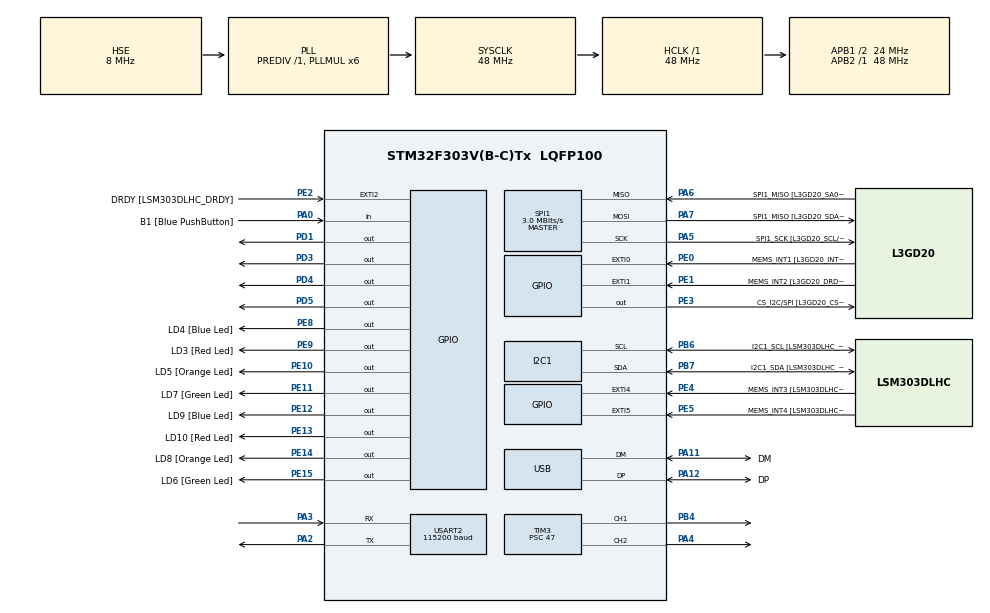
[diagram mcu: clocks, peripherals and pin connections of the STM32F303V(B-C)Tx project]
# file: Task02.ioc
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I2C1.Timing=0x00201D2B
I2C1.Timing-I2C=0x2000090E
Mcu.Family=STM32F3
Mcu.Name=STM32F303V(B-C)Tx
Mcu.Package=LQFP100
NVIC.PriorityGroup=NVIC_PRIORITYGROUP_0
NVIC.SPI1_IRQn=true\:0\:0\:false\:false\:true\:true\:true\:true
NVIC.TIM2_IRQn=true\:0\:0\:false\:false\:true\:true\:true\:true
NVIC.TIM3_IRQn=true\:0\:0\:false\:false\:true\:true\:true\:true
PA0.GPIO_Label=B1 [Blue PushButton]
PA0.Signal=GPIO_Input
PA11.GPIO_Label=DM
PA11.Mode=Device
PA11.Signal=USB_DM
PA12.GPIO_Label=DP
PA12.Mode=Device
PA12.Signal=USB_DP
PA13.GPIO_Label=SWDIO
PA13.Mode=Serial_Wire
PA13.Signal=SYS_JTMS-SWDIO
PA14.GPIO_Label=SWCLK
PA14.Mode=Serial_Wire
PA14.Signal=SYS_JTCK-SWCLK
PA2.Mode=Asynchronous
PA2.Signal=USART2_TX
PA3.Mode=Asynchronous
PA3.Signal=USART2_RX
PA4.GPIO_PuPd=GPIO_PULLUP
PA4.Signal=S_TIM3_CH2
PA5.GPIO_Label=SPI1_SCK [L3GD20_SCL/SPC]
PA5.Mode=Full_Duplex_Master
PA5.Signal=SPI1_SCK
PA6.GPIO_Label=SPI1_MISO [L3GD20_SA0/SDO]
PA6.Mode=Full_Duplex_Master
PA6.Signal=SPI1_MISO
PA7.GPIO_Label=SPI1_MISO [L3GD20_SDA/SDI/SDO]
PA7.Mode=Full_Duplex_Master
PA7.Signal=SPI1_MOSI
PB3.GPIO_Label=SWO
PB3.Signal=SYS_JTDO-TRACESWO
PB4.GPIO_PuPd=GPIO_PULLUP
PB4.Signal=S_TIM3_CH1
PB6.GPIO_Label=I2C1_SCL [LSM303DLHC_SCL]
PB6.GPIO_Pu=GPIO_PULLUP
PB6.Mode=I2C
PB6.Signal=I2C1_SCL
PB7.GPIO_Label=I2C1_SDA [LSM303DLHC_SDA]
PB7.GPIO_Pu=GPIO_PULLUP
PB7.Mode=I2C
PB7.Signal=I2C1_SDA
PC14-OSC32_IN.GPIO_Label=OSC32_IN
PC14-OSC32_IN.Signal=RCC_OSC32_IN
PC15-OSC32_OUT.GPIO_Label=OSC32_OUT
PC15-OSC32_OUT.Signal=RCC_OSC32_OUT
PD1.Signal=GPIO_Output
PD3.Signal=GPIO_Output
PD4.Signal=GPIO_Output
PD5.Signal=GPIO_Output
PE0.GPIO_Label=MEMS_INT1 [L3GD20_INT1]
PE0.GPIO_ModeDefaultEXTI=GPIO_MODE_EVT_RISING
PE0.Signal=GPXTI0
PE1.GPIO_Label=MEMS_INT2 [L3GD20_DRDY/INT2]
PE1.GPIO_ModeDefaultEXTI=GPIO_MODE_EVT_RISING
PE1.Signal=GPXTI1
PE10.GPIO_Label=LD5 [Orange Led]
PE10.Signal=GPIO_Output
PE11.GPIO_Label=LD7 [Green Led]
PE11.Signal=GPIO_Output
PE12.GPIO_Label=LD9 [Blue Led]
PE12.Signal=GPIO_Output
PE13.GPIO_Label=LD10 [Red Led]
PE13.Signal=GPIO_Output
PE14.GPIO_Label=LD8 [Orange Led]
PE14.Signal=GPIO_Output
PE15.GPIO_Label=LD6 [Green Led]
PE15.Signal=GPIO_Output
PE2.GPIO_Label=DRDY [LSM303DLHC_DRDY]
PE2.GPIO_ModeDefaultEXTI=GPIO_MODE_EVT_RISING
PE2.Signal=GPXTI2
PE3.GPIO_Label=CS_I2C/SPI [L3GD20_CS_I2C/SPI]
PE3.Signal=GPIO_Output
PE4.GPIO_Label=MEMS_INT3 [LSM303DLHC_INT1]
PE4.GPIO_ModeDefaultEXTI=GPIO_MODE_EVT_RISING
PE4.Signal=GPXTI4
PE5.GPIO_Label=MEMS_INT4 [LSM303DLHC_INT2]
PE5.GPIO_ModeDefaultEXTI=GPIO_MODE_EVT_RISING
PE5.Signal=GPXTI5
PE8.GPIO_Label=LD4 [Blue Led]
PE8.Signal=GPIO_Output
PE9.GPIO_Label=LD3 [Red Led]
PE9.Signal=GPIO_Output
PF0-OSC_IN.GPIO_Label=OSC_IN
PF0-OSC_IN.Mode=HSE-External-Clock-Source
PF0-OSC_IN.Signal=RCC_OSC_IN
PF1-OSC_OUT.GPIO_Label=OSC_OUT
PF1-OSC_OUT.Signal=RCC_OSC_OUT
ProjectManager.HeapSize=0x200
ProjectManager.StackSize=0x400
ProjectManager.TargetToolchain=CMake
RCC.AHBFreq_Value=48000000
RCC.APB1CLKDivider=RCC_HCLK_DIV2
RCC.APB1Freq_Value=24000000
RCC.APB1TimFreq_Value=48000000
RCC.APB2Freq_Value=48000000
RCC.APB2TimFreq_Value=48000000
RCC.CortexFreq_Value=48000000
RCC.HCLKFreq_Value=48000000
RCC.HSE_VALUE=8000000
RCC.HSI_VALUE=8000000
RCC.LSE_VALUE=32768
RCC.PLLMUL=RCC_PLL_MUL6
RCC.SYSCLKFreq_VALUE=48000000
RCC.SYSCLKSourceVirtual=RCC_SYSCLKSOURCE_PLLCLK
RCC.USBFreq_Value=48000000
SH.S_TIM3_CH1.0=TIM3_CH1,PWM Generation1 CH1
SH.S_TIM3_CH2.0=TIM3_CH2,PWM Generation2 CH2
SPI1.BaudRatePrescaler=SPI_BAUDRATEPRESCALER_16
SPI1.BaudRatePrescaler-Full_Duplex_Master=SPI_BAUDRATEPRESCALER_2
SPI1.CLKPhase=SPI_PHASE_2EDGE
SPI1.CLKPolarity=SPI_POLARITY_HIGH
SPI1.CalculateBaudRate=3.0 MBits/s
SPI1.CalculateBaudRate-Full_Duplex_Master=24.0 MBits/s
SPI1.DataSize=SPI_DATASIZE_8BIT
SPI1.Direction=SPI_DIRECTION_2LINES
SPI1.Mode=SPI_MODE_MASTER
SPI1.Mode-Full_Duplex_Master=SPI_MODE_MASTER
SPI1.VirtualType=VM_MASTER
TIM2.Period=9999
TIM2.Prescaler=47
TIM3.Channel-PWM\ Generation1\ CH1=TIM_CHANNEL_1
TIM3.Channel-PWM\ Generation2\ CH2=TIM_CHANNEL_2
TIM3.Period=999
TIM3.Prescaler=47
USART2.BaudRate=115200
USART2.VirtualMode-Asynchronous=VM_ASYNC
VP_TIM2_VS_ClockSourceINT.Mode=Internal
board=STM32F3DISCOVERY

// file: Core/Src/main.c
/* USER CODE BEGIN Header */
/**
  ******************************************************************************
  * @file           : main.c
  * @brief          : Main program body
  ******************************************************************************
  * @attention
  *
  * Copyright (c) 2026 STMicroelectronics.
  * All rights reserved.
  *
  * This software is licensed under terms that can be found in the LICENSE file
  * in the root directory of this software component.
  * If no LICENSE file comes with this software, it is provided AS-IS.
  *
  ******************************************************************************
  */
/* USER CODE END Header */
#include "main.h"
#include "string.h"
#include "stdio.h"
#include "math.h"
#include "pid.h"

I2C_HandleTypeDef hi2c1;

SPI_HandleTypeDef hspi1;

TIM_HandleTypeDef htim2;
TIM_HandleTypeDef htim3;

UART_HandleTypeDef huart2;

PCD_HandleTypeDef hpcd_USB_FS;

void SystemClock_Config(void);
static void MX_GPIO_Init(void);
static void MX_I2C1_Init(void);
static void MX_SPI1_Init(void);
static void MX_TIM2_Init(void);
static void MX_TIM3_Init(void);
static void MX_USART2_UART_Init(void);
static void MX_USB_PCD_Init(void);

/* USER CODE BEGIN 0 */
#define DevAddress 0x19 << 1
#define OUT_X_L  0x28
# define CTRL_REG1 0x20
# define CTRL_REG1_VAL 0b10001111
# define CTRL_REG4 0x23
# define CTRL_REG4_VAL 0b00000000 // FS [1:0] = 00 => +/- 245 dps

// Variables to store raw and processed sensor data
float acceleration_x, acceleration_tilt_x, acceleration_y, acceleration_tilt_y, acceleration_z, acceleration_tilt_z;
int16_t gyro_x, gyro_y, gyro_z;
float acc_offset_x = 0, acc_offset_y = 0, acc_offset_z = 0;
int16_t gyro_offset_x = 0, gyro_offset_y = 0, gyro_offset_z = 0;
float angle_x = 0, angle_y = 0, angle_z = 0;
volatile float dt = 0.01f;  // global time step for complementary filter
volatile int display_flag = 0; // Flag to indicate when to print data
PID_Controller pid;
volatile uint8_t direction;
volatile int16_t pwm;
// Gyro initialization function
void gyro_init ()
{
  // Power on + enable all axes
  uint8_t tx [2] = {CTRL_REG1 , CTRL_REG1_VAL};
  HAL_GPIO_WritePin(GPIOE, GPIO_PIN_3, GPIO_PIN_RESET);
  HAL_SPI_Transmit(&hspi1, tx , 2, HAL_MAX_DELAY);
  HAL_GPIO_WritePin(GPIOE, GPIO_PIN_3, GPIO_PIN_SET);

  // Set full scale range
  uint8_t ttx[2] = {CTRL_REG4, CTRL_REG4_VAL};
  HAL_GPIO_WritePin(GPIOE, GPIO_PIN_3, GPIO_PIN_RESET);
  HAL_SPI_Transmit(&hspi1, ttx, 2, HAL_MAX_DELAY);
  HAL_GPIO_WritePin(GPIOE, GPIO_PIN_3, GPIO_PIN_SET);
}

// Reading gyro data for all axis
void gyro_read_all(int16_t *x, int16_t *y, int16_t *z)
{
    uint8_t tx = OUT_X_L | 0x80 | 0x40;  // read bit + auto-increment bit
    uint8_t rx[6] = {0};

    HAL_GPIO_WritePin(GPIOE, GPIO_PIN_3, GPIO_PIN_RESET);  // CS LOW once
    HAL_SPI_Transmit(&hspi1, &tx, 1, HAL_MAX_DELAY);       // send start register
    HAL_SPI_Receive(&hspi1, rx, 6, HAL_MAX_DELAY);         // read all 6 bytes
    HAL_GPIO_WritePin(GPIOE, GPIO_PIN_3, GPIO_PIN_SET);    // CS HIGH once

    *x = (int16_t)((rx[1] << 8) | rx[0]);  // XH | XL
    *y = (int16_t)((rx[3] << 8) | rx[2]);  // YH | YL
    *z = (int16_t)((rx[5] << 8) | rx[4]);  // ZH | ZL
}

// Reading accelerometer data for all axis
#define CTRL_REG1_A 0x20
#define CTRL_REG4_A 0x23
void Init_LSM()
{
  uint8_t write_reg_1 = 0x67;
  uint8_t write_reg_4 = 0x00;
  HAL_I2C_Mem_Write(&hi2c1, DevAddress, CTRL_REG1_A, I2C_MEMADD_SIZE_8BIT, &write_reg_1, sizeof(write_reg_1), 100);
  HAL_I2C_Mem_Write(&hi2c1, DevAddress, CTRL_REG4_A, I2C_MEMADD_SIZE_8BIT, &write_reg_4, sizeof(write_reg_4), 100);
}

void Read_LSM()
{
  uint8_t low;
  uint8_t high;

  // Read raw X-axis acceleration data
  HAL_I2C_Mem_Read(&hi2c1, DevAddress, 0x28, I2C_MEMADD_SIZE_8BIT, &low, sizeof(low), 100);
  HAL_I2C_Mem_Read(&hi2c1, DevAddress, 0x29, I2C_MEMADD_SIZE_8BIT, &high, sizeof(high), 100);
  int16_t raw_x = (high << 8) | low;

  // Read raw Y-axis acceleration data
  HAL_I2C_Mem_Read(&hi2c1, DevAddress, 0x2A | 0x80, I2C_MEMADD_SIZE_8BIT, &low, 1, HAL_MAX_DELAY);
  HAL_I2C_Mem_Read(&hi2c1, DevAddress, 0x2B | 0x80, I2C_MEMADD_SIZE_8BIT, &high, 1, HAL_MAX_DELAY);
  int16_t raw_y = (int16_t)((high << 8) | low);

  // Read raw Z-axis acceleration data
  HAL_I2C_Mem_Read(&hi2c1, DevAddress, 0x2C | 0x80, I2C_MEMADD_SIZE_8BIT, &low, 1, HAL_MAX_DELAY);
  HAL_I2C_Mem_Read(&hi2c1, DevAddress, 0x2D | 0x80, I2C_MEMADD_SIZE_8BIT, &high, 1, HAL_MAX_DELAY);
  int16_t raw_z = (int16_t)((high << 8) | low);

  // Convert raw data to acceleration in g's
  acceleration_x = (raw_x * 3.9) / 1000;
  acceleration_x -= acc_offset_x;

  acceleration_y = (raw_y * 3.9) / 1000;
  acceleration_y -= acc_offset_y;

  acceleration_z = (raw_z * 3.9) / 1000;
  acceleration_z -= acc_offset_z;

  // Calculate tilt angles using atan2 and convert to degrees
  float accel_angle_x = atan2(acceleration_y, acceleration_z);
  acceleration_tilt_x = accel_angle_x * 57.2958; // Convert to degrees

  float accel_angle_y = atan2(acceleration_x, acceleration_z);
  acceleration_tilt_y = accel_angle_y * 57.2958; // Convert to degrees

  float accel_angle_z = atan2(acceleration_x, acceleration_y);
  acceleration_tilt_z = accel_angle_z * 57.2958; // Convert to degrees

}
void Print_LSM()
{
  char buffer[128];
  float gyro_x_dps = gyro_x * 0.00875f;
  float gyro_y_dps = gyro_y * 0.00875f;
  float gyro_z_dps = gyro_z * 0.00875f;
  sprintf(buffer, "%.2f,%.2f,%.2f,%.2f,%.2f,%.2f\r\n", gyro_x_dps, acceleration_x, gyro_y_dps, acceleration_y, gyro_z_dps, acceleration_z);
  HAL_UART_Transmit(&huart2, (uint8_t*)buffer, strlen(buffer), HAL_MAX_DELAY);
}
void offset_LSM()
{
  for (int i = 0; i < 20; i++)
  {
    Read_LSM();
    gyro_read_all(&gyro_x, &gyro_y, &gyro_z);
    acc_offset_x += acceleration_x;
    gyro_offset_x += gyro_x;
    acc_offset_y += acceleration_y;
    gyro_offset_y += gyro_y;
    acc_offset_z += acceleration_z;
    gyro_offset_z += gyro_z;
    HAL_Delay(10);
  }
  gyro_offset_x /= 20;
  acc_offset_x /= 20;
  gyro_offset_y /= 20;
  acc_offset_y /= 20;
  gyro_offset_z /= 20;
  acc_offset_z /= 20;
}

void angle_calculation(){
  // Complementary filter parameters
  float alpha = 0.98; // Filter coefficient
  // Gyro_dps
  float gyro_x_dps = gyro_x * 0.00875f;
  float gyro_y_dps = gyro_y * 0.00875f;
  float gyro_z_dps = gyro_z * 0.00875f;
  // Calculate angles from complementary filter
  angle_x = alpha * (angle_x + (gyro_x_dps) * dt) + (0.02 * (-acceleration_tilt_x));
  angle_y = alpha * (angle_y + gyro_y_dps * dt) + (0.02 * acceleration_tilt_y);
  angle_z = alpha * (angle_z + gyro_z_dps * dt) + (0.02 * acceleration_tilt_z);
}
void print_angle(){
  char buffer[128];
  sprintf(buffer, "%.2f,%.2f,%.2f\r\n", angle_x, angle_y, angle_z);
  HAL_UART_Transmit(&huart2, (uint8_t*)buffer, strlen(buffer), HAL_MAX_DELAY);
}
/* Timer ISR (runs at 100 Hz) */
void HAL_TIM_PeriodElapsedCallback(TIM_HandleTypeDef *htim)
{
    if (htim->Instance == TIM2)
    {
        static int counter = 0;

        // Step 1: read sensors
        Read_LSM();
        gyro_read_all(&gyro_x, &gyro_y, &gyro_z);

        // Step 2: complementary filter
        angle_calculation();

        // PID
        pwm = PID_Compute(&pid, angle_y, &direction);

        // Step 4: flag UART every 10 calls = 10Hz
        counter++;
        if (counter >= 10)
        {
            display_flag = 1;
            counter = 0;
        }
    }
}
void configure_timer_interrupt(uint32_t freq_hz)
{
    __HAL_TIM_SET_AUTORELOAD(&htim2, (1000000 / freq_hz) - 1);
    dt = 1.0f / freq_hz;
}
/* USER CODE END 0 */

int main(void)
{

  /* MCU Configuration--------------------------------------------------------*/

  /* Reset of all peripherals, Initializes the Flash interface and the Systick. */
  HAL_Init();

  /* Configure the system clock */
  SystemClock_Config();

  /* Initialize all configured peripherals */
  MX_GPIO_Init();
  MX_I2C1_Init();
  MX_SPI1_Init();
  MX_TIM2_Init();
  MX_TIM3_Init();
  MX_USART2_UART_Init();
  MX_USB_PCD_Init();
  /* USER CODE BEGIN 2 */
  Init_LSM();
  HAL_Delay(100);
  gyro_init();
  HAL_Delay(100);
  offset_LSM();
  PID_Init(&pid, 1.0f, 0.0001f, 0.05f, dt, -1000, 1000, 0.1f);
  configure_timer_interrupt(100);  // set to 100Hz
  HAL_TIM_Base_Start_IT(&htim2);
  /* USER CODE END 2 */

  /* Infinite loop */
  while (1)
  {
    if (display_flag)
    {
        print_angle();
        display_flag = 0;
        char pwm_buff[128];
        sprintf(pwm_buff, "pwm: %d,direction: %d\r\n", pwm, direction);
        HAL_UART_Transmit(&huart2, (uint8_t*)pwm_buff, strlen(pwm_buff), HAL_MAX_DELAY);
    }
  }
}

void SystemClock_Config(void)
{
  RCC_OscInitTypeDef RCC_OscInitStruct = {0};
  RCC_ClkInitTypeDef RCC_ClkInitStruct = {0};
  RCC_PeriphCLKInitTypeDef PeriphClkInit = {0};

  /** Initializes the RCC Oscillators according to the specified parameters
  * in the RCC_OscInitTypeDef structure.
  */
  RCC_OscInitStruct.OscillatorType = RCC_OSCILLATORTYPE_HSI|RCC_OSCILLATORTYPE_HSE;
  RCC_OscInitStruct.HSEState = RCC_HSE_BYPASS;
  RCC_OscInitStruct.HSEPredivValue = RCC_HSE_PREDIV_DIV1;
  RCC_OscInitStruct.HSIState = RCC_HSI_ON;
  RCC_OscInitStruct.HSICalibrationValue = RCC_HSICALIBRATION_DEFAULT;
  RCC_OscInitStruct.PLL.PLLState = RCC_PLL_ON;
  RCC_OscInitStruct.PLL.PLLSource = RCC_PLLSOURCE_HSE;
  RCC_OscInitStruct.PLL.PLLMUL = RCC_PLL_MUL6;
  if (HAL_RCC_OscConfig(&RCC_OscInitStruct) != HAL_OK)
  {
    Error_Handler();
  }

  /** Initializes the CPU, AHB and APB buses clocks
  */
  RCC_ClkInitStruct.ClockType = RCC_CLOCKTYPE_HCLK|RCC_CLOCKTYPE_SYSCLK
                              |RCC_CLOCKTYPE_PCLK1|RCC_CLOCKTYPE_PCLK2;
  RCC_ClkInitStruct.SYSCLKSource = RCC_SYSCLKSOURCE_PLLCLK;
  RCC_ClkInitStruct.AHBCLKDivider = RCC_SYSCLK_DIV1;
  RCC_ClkInitStruct.APB1CLKDivider = RCC_HCLK_DIV2;
  RCC_ClkInitStruct.APB2CLKDivider = RCC_HCLK_DIV1;

  if (HAL_RCC_ClockConfig(&RCC_ClkInitStruct, FLASH_LATENCY_1) != HAL_OK)
  {
    Error_Handler();
  }
  PeriphClkInit.PeriphClockSelection = RCC_PERIPHCLK_USB|RCC_PERIPHCLK_USART2
                              |RCC_PERIPHCLK_I2C1;
  PeriphClkInit.Usart2ClockSelection = RCC_USART2CLKSOURCE_PCLK1;
  PeriphClkInit.I2c1ClockSelection = RCC_I2C1CLKSOURCE_HSI;
  PeriphClkInit.USBClockSelection = RCC_USBCLKSOURCE_PLL;
  if (HAL_RCCEx_PeriphCLKConfig(&PeriphClkInit) != HAL_OK)
  {
    Error_Handler();
  }
}

static void MX_I2C1_Init(void)
{

  hi2c1.Instance = I2C1;
  hi2c1.Init.Timing = 0x00201D2B;
  hi2c1.Init.OwnAddress1 = 0;
  hi2c1.Init.AddressingMode = I2C_ADDRESSINGMODE_7BIT;
  hi2c1.Init.DualAddressMode = I2C_DUALADDRESS_DISABLE;
  hi2c1.Init.OwnAddress2 = 0;
  hi2c1.Init.OwnAddress2Masks = I2C_OA2_NOMASK;
  hi2c1.Init.GeneralCallMode = I2C_GENERALCALL_DISABLE;
  hi2c1.Init.NoStretchMode = I2C_NOSTRETCH_DISABLE;
  if (HAL_I2C_Init(&hi2c1) != HAL_OK)
  {
    Error_Handler();
  }

  /** Configure Analogue filter
  */
  if (HAL_I2CEx_ConfigAnalogFilter(&hi2c1, I2C_ANALOGFILTER_ENABLE) != HAL_OK)
  {
    Error_Handler();
  }

  /** Configure Digital filter
  */
  if (HAL_I2CEx_ConfigDigitalFilter(&hi2c1, 0) != HAL_OK)
  {
    Error_Handler();
  }

}

static void MX_SPI1_Init(void)
{

  /* SPI1 parameter configuration*/
  hspi1.Instance = SPI1;
  hspi1.Init.Mode = SPI_MODE_MASTER;
  hspi1.Init.Direction = SPI_DIRECTION_2LINES;
  hspi1.Init.DataSize = SPI_DATASIZE_8BIT;
  hspi1.Init.CLKPolarity = SPI_POLARITY_HIGH;
  hspi1.Init.CLKPhase = SPI_PHASE_2EDGE;
  hspi1.Init.NSS = SPI_NSS_SOFT;
  hspi1.Init.BaudRatePrescaler = SPI_BAUDRATEPRESCALER_16;
  hspi1.Init.FirstBit = SPI_FIRSTBIT_MSB;
  hspi1.Init.TIMode = SPI_TIMODE_DISABLE;
  hspi1.Init.CRCCalculation = SPI_CRCCALCULATION_DISABLE;
  hspi1.Init.CRCPolynomial = 7;
  hspi1.Init.CRCLength = SPI_CRC_LENGTH_DATASIZE;
  hspi1.Init.NSSPMode = SPI_NSS_PULSE_DISABLE;
  if (HAL_SPI_Init(&hspi1) != HAL_OK)
  {
    Error_Handler();
  }

}

static void MX_TIM2_Init(void)
{

  TIM_ClockConfigTypeDef sClockSourceConfig = {0};
  TIM_MasterConfigTypeDef sMasterConfig = {0};

  htim2.Instance = TIM2;
  htim2.Init.Prescaler = 47;
  htim2.Init.CounterMode = TIM_COUNTERMODE_UP;
  htim2.Init.Period = 9999;
  htim2.Init.ClockDivision = TIM_CLOCKDIVISION_DIV1;
  htim2.Init.AutoReloadPreload = TIM_AUTORELOAD_PRELOAD_DISABLE;
  if (HAL_TIM_Base_Init(&htim2) != HAL_OK)
  {
    Error_Handler();
  }
  sClockSourceConfig.ClockSource = TIM_CLOCKSOURCE_INTERNAL;
  if (HAL_TIM_ConfigClockSource(&htim2, &sClockSourceConfig) != HAL_OK)
  {
    Error_Handler();
  }
  sMasterConfig.MasterOutputTrigger = TIM_TRGO_RESET;
  sMasterConfig.MasterSlaveMode = TIM_MASTERSLAVEMODE_DISABLE;
  if (HAL_TIMEx_MasterConfigSynchronization(&htim2, &sMasterConfig) != HAL_OK)
  {
    Error_Handler();
  }

}

static void MX_TIM3_Init(void)
{

  TIM_MasterConfigTypeDef sMasterConfig = {0};
  TIM_OC_InitTypeDef sConfigOC = {0};

  htim3.Instance = TIM3;
  htim3.Init.Prescaler = 47;
  htim3.Init.CounterMode = TIM_COUNTERMODE_UP;
  htim3.Init.Period = 999;
  htim3.Init.ClockDivision = TIM_CLOCKDIVISION_DIV1;
  htim3.Init.AutoReloadPreload = TIM_AUTORELOAD_PRELOAD_DISABLE;
  if (HAL_TIM_PWM_Init(&htim3) != HAL_OK)
  {
    Error_Handler();
  }
  sMasterConfig.MasterOutputTrigger = TIM_TRGO_RESET;
  sMasterConfig.MasterSlaveMode = TIM_MASTERSLAVEMODE_DISABLE;
  if (HAL_TIMEx_MasterConfigSynchronization(&htim3, &sMasterConfig) != HAL_OK)
  {
    Error_Handler();
  }
  sConfigOC.OCMode = TIM_OCMODE_PWM1;
  sConfigOC.Pulse = 0;
  sConfigOC.OCPolarity = TIM_OCPOLARITY_HIGH;
  sConfigOC.OCFastMode = TIM_OCFAST_DISABLE;
  if (HAL_TIM_PWM_ConfigChannel(&htim3, &sConfigOC, TIM_CHANNEL_1) != HAL_OK)
  {
    Error_Handler();
  }
  if (HAL_TIM_PWM_ConfigChannel(&htim3, &sConfigOC, TIM_CHANNEL_2) != HAL_OK)
  {
    Error_Handler();
  }
  HAL_TIM_MspPostInit(&htim3);

}

static void MX_USART2_UART_Init(void)
{

  huart2.Instance = USART2;
  huart2.Init.BaudRate = 115200;
  huart2.Init.WordLength = UART_WORDLENGTH_8B;
  huart2.Init.StopBits = UART_STOPBITS_1;
  huart2.Init.Parity = UART_PARITY_NONE;
  huart2.Init.Mode = UART_MODE_TX_RX;
  huart2.Init.HwFlowCtl = UART_HWCONTROL_NONE;
  huart2.Init.OverSampling = UART_OVERSAMPLING_16;
  huart2.Init.OneBitSampling = UART_ONE_BIT_SAMPLE_DISABLE;
  huart2.AdvancedInit.AdvFeatureInit = UART_ADVFEATURE_NO_INIT;
  if (HAL_UART_Init(&huart2) != HAL_OK)
  {
    Error_Handler();
  }

}

static void MX_USB_PCD_Init(void)
{

  hpcd_USB_FS.Instance = USB;
  hpcd_USB_FS.Init.dev_endpoints = 8;
  hpcd_USB_FS.Init.speed = PCD_SPEED_FULL;
  hpcd_USB_FS.Init.phy_itface = PCD_PHY_EMBEDDED;
  hpcd_USB_FS.Init.low_power_enable = DISABLE;
  hpcd_USB_FS.Init.battery_charging_enable = DISABLE;
  if (HAL_PCD_Init(&hpcd_USB_FS) != HAL_OK)
  {
    Error_Handler();
  }

}

static void MX_GPIO_Init(void)
{
  GPIO_InitTypeDef GPIO_InitStruct = {0};

  /* GPIO Ports Clock Enable */
  __HAL_RCC_GPIOE_CLK_ENABLE();
  __HAL_RCC_GPIOC_CLK_ENABLE();
  __HAL_RCC_GPIOF_CLK_ENABLE();
  __HAL_RCC_GPIOA_CLK_ENABLE();
  __HAL_RCC_GPIOD_CLK_ENABLE();
  __HAL_RCC_GPIOB_CLK_ENABLE();

  /*Configure GPIO pin Output Level */
  HAL_GPIO_WritePin(GPIOE, CS_I2C_SPI_Pin|LD4_Pin|LD3_Pin|LD5_Pin
                          |LD7_Pin|LD9_Pin|LD10_Pin|LD8_Pin
                          |LD6_Pin, GPIO_PIN_RESET);

  /*Configure GPIO pin Output Level */
  HAL_GPIO_WritePin(GPIOD, GPIO_PIN_1|GPIO_PIN_3|GPIO_PIN_4|GPIO_PIN_5, GPIO_PIN_RESET);

  /*Configure GPIO pins : DRDY_Pin MEMS_INT3_Pin MEMS_INT4_Pin MEMS_INT1_Pin
                           MEMS_INT2_Pin */
  GPIO_InitStruct.Pin = DRDY_Pin|MEMS_INT3_Pin|MEMS_INT4_Pin|MEMS_INT1_Pin
                          |MEMS_INT2_Pin;
  GPIO_InitStruct.Mode = GPIO_MODE_EVT_RISING;
  GPIO_InitStruct.Pull = GPIO_NOPULL;
  HAL_GPIO_Init(GPIOE, &GPIO_InitStruct);

  /*Configure GPIO pins : CS_I2C_SPI_Pin LD4_Pin LD3_Pin LD5_Pin
                           LD7_Pin LD9_Pin LD10_Pin LD8_Pin
                           LD6_Pin */
  GPIO_InitStruct.Pin = CS_I2C_SPI_Pin|LD4_Pin|LD3_Pin|LD5_Pin
                          |LD7_Pin|LD9_Pin|LD10_Pin|LD8_Pin
                          |LD6_Pin;
  GPIO_InitStruct.Mode = GPIO_MODE_OUTPUT_PP;
  GPIO_InitStruct.Pull = GPIO_NOPULL;
  GPIO_InitStruct.Speed = GPIO_SPEED_FREQ_LOW;
  HAL_GPIO_Init(GPIOE, &GPIO_InitStruct);

  /*Configure GPIO pin : B1_Pin */
  GPIO_InitStruct.Pin = B1_Pin;
  GPIO_InitStruct.Mode = GPIO_MODE_INPUT;
  GPIO_InitStruct.Pull = GPIO_NOPULL;
  HAL_GPIO_Init(B1_GPIO_Port, &GPIO_InitStruct);

  /*Configure GPIO pins : PD1 PD3 PD4 PD5 */
  GPIO_InitStruct.Pin = GPIO_PIN_1|GPIO_PIN_3|GPIO_PIN_4|GPIO_PIN_5;
  GPIO_InitStruct.Mode = GPIO_MODE_OUTPUT_PP;
  GPIO_InitStruct.Pull = GPIO_NOPULL;
  GPIO_InitStruct.Speed = GPIO_SPEED_FREQ_LOW;
  HAL_GPIO_Init(GPIOD, &GPIO_InitStruct);

}

void Error_Handler(void)
{
  __disable_irq();
  while (1)
  {
  }
}
